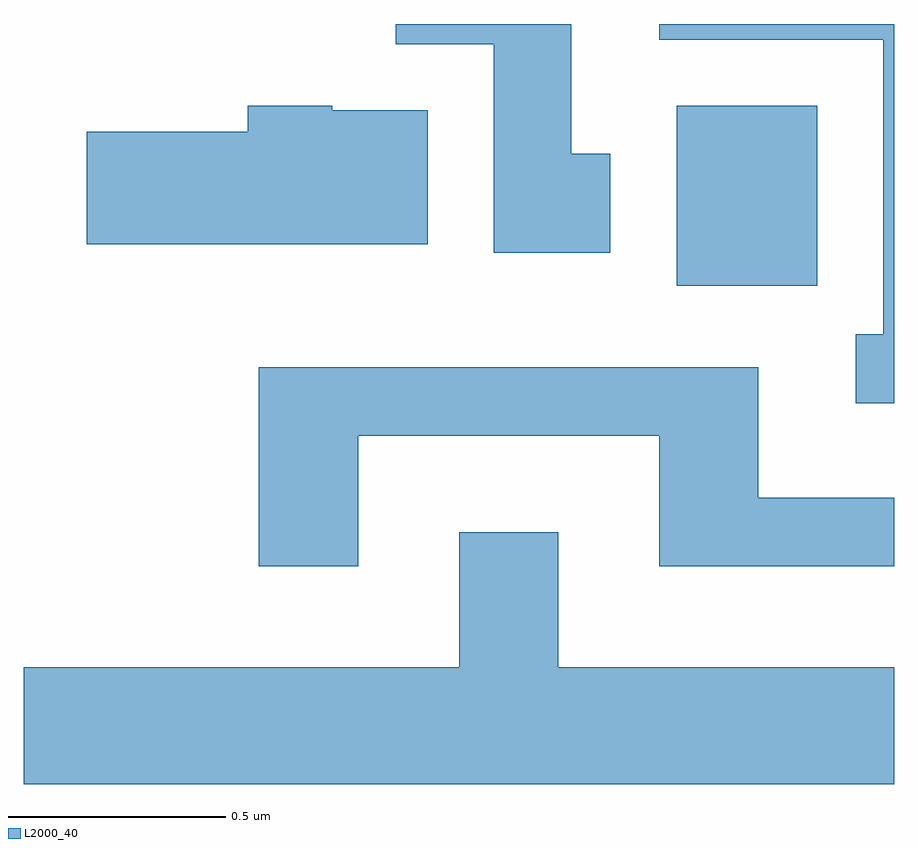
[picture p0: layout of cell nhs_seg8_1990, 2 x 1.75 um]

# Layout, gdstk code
import gdstk
lib = gdstk.Library(unit=1e-6, precision=1e-09)
def R(c, l, rs):  # rectangles x0, y0, x1, y1
    for r in rs: c.add(gdstk.rectangle(r[:2], r[2:], *l))
def P(c, l, *ps):  # polygons
    for p in ps: c.add(gdstk.Polygon(p, *l))
L2000_40 = (2000, 40)

nhs_seg8_1990 = lib.new_cell('nhs_seg8_1990')
R(nhs_seg8_1990, L2000_40, [(201.111,1879.741,201.434,1880.154)])
P(nhs_seg8_1990, L2000_40, [(200.959,1880.044),(200.869,1880.044),(200.869,1880.342),(200.466,1880.342),(200.466,1880.296),(200.691,1880.296),(200.691,1879.816),(200.959,1879.816)],
  [(201.611,1880.342),(201.071,1880.342),(201.071,1880.306),(201.586,1880.306),(201.586,1879.629),(201.523,1879.629),(201.523,1879.471),(201.611,1879.471)],
  [(200.539,1880.144),(200.32,1880.144),(200.32,1880.154),(200.126,1880.154),(200.126,1880.094),(199.756,1880.094),(199.756,1879.836),(200.539,1879.836)],
  [(200.379,1879.396),(201.071,1879.396),(201.071,1879.096),(201.611,1879.096),(201.611,1879.254),(201.299,1879.254),(201.299,1879.554),(200.151,1879.554),(200.151,1879.096),(200.379,1879.096)],
  [(201.611,1878.864),(200.839,1878.864),(200.839,1879.174),(200.611,1879.174),(200.611,1878.864),(199.611,1878.864),(199.611,1878.596),(201.611,1878.596)])

lib.write_gds('nhs_seg8_1990.gds')
